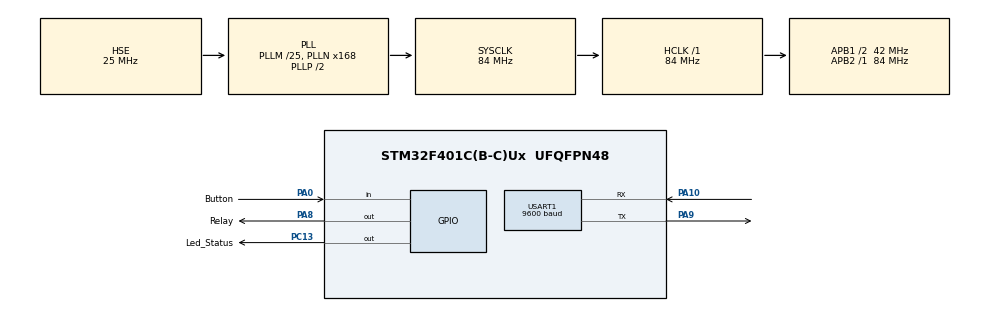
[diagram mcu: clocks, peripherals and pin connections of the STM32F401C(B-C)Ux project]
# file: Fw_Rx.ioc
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Mcu.Family=STM32F4
Mcu.Name=STM32F401C(B-C)Ux
Mcu.Package=UFQFPN48
NVIC.PriorityGroup=NVIC_PRIORITYGROUP_4
NVIC.USART1_IRQn=true\:1\:0\:true\:false\:true\:true\:true\:true
PA0-WKUP.GPIO_Label=Button
PA0-WKUP.Signal=GPIO_Input
PA10.Mode=Asynchronous
PA10.Signal=USART1_RX
PA13.Mode=Serial_Wire
PA13.Signal=SYS_JTMS-SWDIO
PA14.Mode=Serial_Wire
PA14.Signal=SYS_JTCK-SWCLK
PA8.GPIO_Label=Relay
PA8.Signal=GPIO_Output
PA9.Mode=Asynchronous
PA9.Signal=USART1_TX
PC13-ANTI_TAMP.GPIO_Label=Led_Status
PC13-ANTI_TAMP.Signal=GPIO_Output
PH0\ -\ OSC_IN.Mode=HSE-External-Oscillator
PH0\ -\ OSC_IN.Signal=RCC_OSC_IN
PH1\ -\ OSC_OUT.Mode=HSE-External-Oscillator
PH1\ -\ OSC_OUT.Signal=RCC_OSC_OUT
ProjectManager.HeapSize=0x200
ProjectManager.StackSize=0x400
ProjectManager.TargetToolchain=MDK-ARM V5.32
RCC.48MHZClocksFreq_Value=42000000
RCC.AHBFreq_Value=84000000
RCC.APB1CLKDivider=RCC_HCLK_DIV2
RCC.APB1Freq_Value=42000000
RCC.APB1TimFreq_Value=84000000
RCC.APB2Freq_Value=84000000
RCC.APB2TimFreq_Value=84000000
RCC.CortexFreq_Value=84000000
RCC.HCLKFreq_Value=84000000
RCC.HSE_VALUE=25000000
RCC.HSI_VALUE=16000000
RCC.LSE_VALUE=32768
RCC.PLLM=25
RCC.PLLN=168
RCC.PLLSourceVirtual=RCC_PLLSOURCE_HSE
RCC.SYSCLKFreq_VALUE=84000000
RCC.SYSCLKSource=RCC_SYSCLKSOURCE_PLLCLK
RCC.VCOOutputFreq_Value=168000000
USART1.BaudRate=9600
USART1.VirtualMode=VM_ASYNC
board=custom

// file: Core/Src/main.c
/* USER CODE BEGIN Header */
/**
  ******************************************************************************
  * @file           : main.c
  * @brief          : Main program body
  ******************************************************************************
  * @attention
  *
  * Copyright (c) 2024 STMicroelectronics.
  * All rights reserved.
  *
  * This software is licensed under terms that can be found in the LICENSE file
  * in the root directory of this software component.
  * If no LICENSE file comes with this software, it is provided AS-IS.
  *
  ******************************************************************************
  */
/* USER CODE END Header */
#include "main.h"

/* USER CODE BEGIN Includes */
#include "string.h"
#include "stdio.h"
/* USER CODE END Includes */

UART_HandleTypeDef huart1;

/* USER CODE BEGIN PV */
uint8_t RX[10];
uint8_t TX[10] = "1";
char RX_Data[8];

uint8_t a = 0;
/* USER CODE END PV */

void SystemClock_Config(void);
static void MX_GPIO_Init(void);
static void MX_USART1_UART_Init(void);

/* USER CODE BEGIN 0 */
void HAL_UART_RxCpltCallback(UART_HandleTypeDef *huart)
{

   if(huart->Instance == USART1)
		{
			if((RX[0]) == '1')
			{
				a = 1;
				HAL_GPIO_WritePin(Led_Status_GPIO_Port, Led_Status_Pin, 1);
			}
			else
			{
				HAL_GPIO_WritePin(Led_Status_GPIO_Port, Led_Status_Pin, 0);
				a = 2;
			}
			HAL_UART_Transmit(&huart1, (uint8_t*)RX,1, 100);
			HAL_UART_Receive_IT(&huart1, (uint8_t*)RX, 1);
  }
}

/* USER CODE END 0 */

int main(void)
{

  /* MCU Configuration--------------------------------------------------------*/

  /* Reset of all peripherals, Initializes the Flash interface and the Systick. */
  HAL_Init();

  /* Configure the system clock */
  SystemClock_Config();

  /* Initialize all configured peripherals */
  MX_GPIO_Init();
  MX_USART1_UART_Init();
  /* USER CODE BEGIN 2 */

	HAL_UART_Receive_IT(&huart1, (uint8_t*)RX, 1);

  /* USER CODE END 2 */

  /* Infinite loop */
  while (1)
  {

  }
}

void SystemClock_Config(void)
{
  RCC_OscInitTypeDef RCC_OscInitStruct = {0};
  RCC_ClkInitTypeDef RCC_ClkInitStruct = {0};

  /** Configure the main internal regulator output voltage
  */
  __HAL_RCC_PWR_CLK_ENABLE();
  __HAL_PWR_VOLTAGESCALING_CONFIG(PWR_REGULATOR_VOLTAGE_SCALE2);

  /** Initializes the RCC Oscillators according to the specified parameters
  * in the RCC_OscInitTypeDef structure.
  */
  RCC_OscInitStruct.OscillatorType = RCC_OSCILLATORTYPE_HSE;
  RCC_OscInitStruct.HSEState = RCC_HSE_ON;
  RCC_OscInitStruct.PLL.PLLState = RCC_PLL_ON;
  RCC_OscInitStruct.PLL.PLLSource = RCC_PLLSOURCE_HSE;
  RCC_OscInitStruct.PLL.PLLM = 25;
  RCC_OscInitStruct.PLL.PLLN = 168;
  RCC_OscInitStruct.PLL.PLLP = RCC_PLLP_DIV2;
  RCC_OscInitStruct.PLL.PLLQ = 4;
  if (HAL_RCC_OscConfig(&RCC_OscInitStruct) != HAL_OK)
  {
    Error_Handler();
  }

  /** Initializes the CPU, AHB and APB buses clocks
  */
  RCC_ClkInitStruct.ClockType = RCC_CLOCKTYPE_HCLK|RCC_CLOCKTYPE_SYSCLK
                              |RCC_CLOCKTYPE_PCLK1|RCC_CLOCKTYPE_PCLK2;
  RCC_ClkInitStruct.SYSCLKSource = RCC_SYSCLKSOURCE_PLLCLK;
  RCC_ClkInitStruct.AHBCLKDivider = RCC_SYSCLK_DIV1;
  RCC_ClkInitStruct.APB1CLKDivider = RCC_HCLK_DIV2;
  RCC_ClkInitStruct.APB2CLKDivider = RCC_HCLK_DIV1;

  if (HAL_RCC_ClockConfig(&RCC_ClkInitStruct, FLASH_LATENCY_2) != HAL_OK)
  {
    Error_Handler();
  }
}

static void MX_USART1_UART_Init(void)
{

  huart1.Instance = USART1;
  huart1.Init.BaudRate = 115200;
  huart1.Init.WordLength = UART_WORDLENGTH_8B;
  huart1.Init.StopBits = UART_STOPBITS_1;
  huart1.Init.Parity = UART_PARITY_NONE;
  huart1.Init.Mode = UART_MODE_TX_RX;
  huart1.Init.HwFlowCtl = UART_HWCONTROL_NONE;
  huart1.Init.OverSampling = UART_OVERSAMPLING_16;
  if (HAL_UART_Init(&huart1) != HAL_OK)
  {
    Error_Handler();
  }

}

static void MX_GPIO_Init(void)
{
  GPIO_InitTypeDef GPIO_InitStruct = {0};

  /* GPIO Ports Clock Enable */
  __HAL_RCC_GPIOC_CLK_ENABLE();
  __HAL_RCC_GPIOH_CLK_ENABLE();
  __HAL_RCC_GPIOA_CLK_ENABLE();

  /*Configure GPIO pin Output Level */
  HAL_GPIO_WritePin(Led_Status_GPIO_Port, Led_Status_Pin, GPIO_PIN_RESET);

  /*Configure GPIO pin Output Level */
  HAL_GPIO_WritePin(Relay_GPIO_Port, Relay_Pin, GPIO_PIN_RESET);

  /*Configure GPIO pin : Led_Status_Pin */
  GPIO_InitStruct.Pin = Led_Status_Pin;
  GPIO_InitStruct.Mode = GPIO_MODE_OUTPUT_PP;
  GPIO_InitStruct.Pull = GPIO_NOPULL;
  GPIO_InitStruct.Speed = GPIO_SPEED_FREQ_LOW;
  HAL_GPIO_Init(Led_Status_GPIO_Port, &GPIO_InitStruct);

  /*Configure GPIO pin : Button_Pin */
  GPIO_InitStruct.Pin = Button_Pin;
  GPIO_InitStruct.Mode = GPIO_MODE_INPUT;
  GPIO_InitStruct.Pull = GPIO_NOPULL;
  HAL_GPIO_Init(Button_GPIO_Port, &GPIO_InitStruct);

  /*Configure GPIO pin : Relay_Pin */
  GPIO_InitStruct.Pin = Relay_Pin;
  GPIO_InitStruct.Mode = GPIO_MODE_OUTPUT_PP;
  GPIO_InitStruct.Pull = GPIO_NOPULL;
  GPIO_InitStruct.Speed = GPIO_SPEED_FREQ_LOW;
  HAL_GPIO_Init(Relay_GPIO_Port, &GPIO_InitStruct);

}

void Error_Handler(void)
{
  __disable_irq();
  while (1)
  {
  }
}
